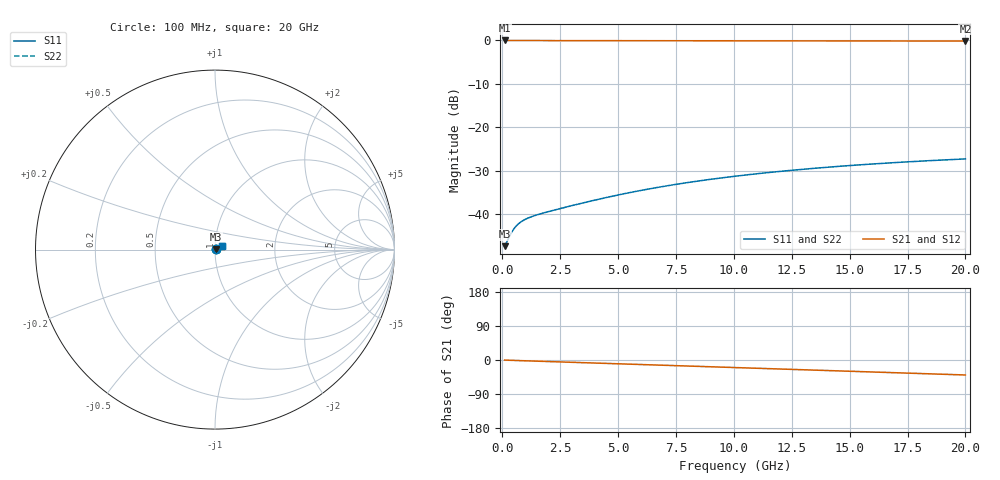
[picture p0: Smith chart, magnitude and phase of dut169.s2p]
! Touchstone file exported from HFSS 2026.1.0
!  File:  C:/ffzhzh/LocalFiles/Ansys_Project_Files/temp_train_BSMRDL_169_1782986978_45328.aedt
!  Generated:  06:10:54 PM Jul  2, 2026
!  Design:  BSMRDL
!  Project:  temp_train_BSMRDL_169_1782986978_45328
! Variables:
!  h_bsmrdl = 2.24um
!  h_ox = 20um
!  h_rdl = 5um
!  h_sub = 80um
!  h_tmrdl = 5um
!  h_tsv = 80um
!  h_via = 3um
!  l_bsmrdl = 690.67um
!  l_sub = 1090.67um
!  l_tmrdl = 200um
!  m_sub = 200um
!  pitch = 33.6um
!  r_tsv = 6um
!  s_tmrdl = 10um
!  w_bsmrdl = 29.21um
!  w_sub = 500um
!  w_tmrdl = 12um
!  x_tsv_center1 = 206um
!  x_tsv_center2 = 925.88um
!  x_tsv_center3 = 1137.88um
!  x_tsv_center4 = 1857.76um
!  x_tsv_center5 = 2069.76um
!  x_tsv_center6 = 2789.64um
# GHz S MA R 50.000000
! Terminal data exported
! Port[1] = BSM_RDL1_1_T1
! Port[2] = BSM_RDL1_1_T2
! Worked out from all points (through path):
!   200 points, 100 MHz to 20 GHz, reference 50 ohm
!   highest |S21| = -0.04 dB at 100 MHz (marker M1); lowest = -0.2 dB at 20 GHz (marker M2)
!   group delay of S21, straight-line fit = 5.48 ps
!   lowest |S11| = -47.4 dB at 100 MHz (marker M3), VSWR 1.01, Z = 50.4 + j0.0946 ohm
!   |S11| at or under -10 dB: start of sweep to end of sweep
!   |S22| runs from -47.4 to -27.4 dB; largest |S21 - S12| = 4.1e-15
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0.1  0.004274 12.7  0.9958 -0.2  0.9958 -0.2  0.004274 12.7
! Gamma 0 0 0 0
! Port Impedance 50 0 50 0
0.2  0.004813 21.8  0.9955 -0.5  0.9955 -0.5  0.004816 21.7
0.3  0.005488 26.9  0.9951 -0.7  0.9951 -0.7  0.005491 26.8
0.4  0.006161 29.5  0.9947 -0.9  0.9947 -0.9  0.00616 29.2
0.5  0.006768 30.5  0.9942 -1.1  0.9942 -1.1  0.006759 30.3
0.6  0.007291 30.9  0.9938 -1.3  0.9938 -1.3  0.007274 30.6
0.7  0.007736 31.0  0.9935 -1.5  0.9935 -1.5  0.007709 30.7
0.9  0.008438 31.0  0.9929 -1.9  0.9929 -1.9  0.008396 30.7
1.2  0.009202 31.3  0.9924 -2.5  0.9924 -2.5  0.009144 31.2
1.6  0.009986 32.7  0.992 -3.3  0.992 -3.3  0.00992 32.6
2.3  0.01122 35.9  0.9916 -4.7  0.9916 -4.7  0.01116 36.0
3.5  0.01348 40.9  0.991 -7.1  0.991 -7.1  0.01343 41.0
4.4  0.01532 43.3  0.9905 -8.9  0.9905 -8.9  0.01528 43.5
5.2  0.01702 44.5  0.9901 -10.5  0.9901 -10.5  0.01699 44.8
6.8  0.02048 45.2  0.9892 -13.6  0.9892 -13.6  0.02043 45.5
8.4  0.0239 44.3  0.9882 -16.8  0.9882 -16.8  0.02382 44.8
10.1  0.02737 42.4  0.987 -20.2  0.987 -20.2  0.02726 43.0
11.7  0.03046 40.1  0.9859 -23.3  0.9859 -23.3  0.03032 40.9
13.4  0.03352 37.4  0.9846 -26.7  0.9846 -26.7  0.03334 38.2
15  0.03619 34.6  0.9834 -29.8  0.9834 -29.8  0.03597 35.5
16.7  0.03879 31.5  0.9822 -33.1  0.9822 -33.1  0.03852 32.6
20  0.04314 25.3  0.98 -39.6  0.98 -39.6  0.04277 26.7
